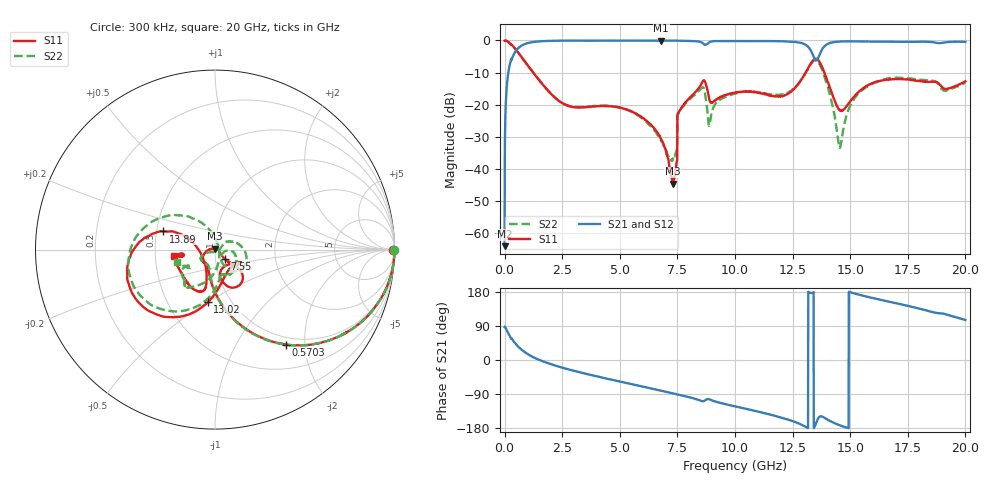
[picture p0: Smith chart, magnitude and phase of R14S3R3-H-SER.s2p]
!{R14S3R3}
!Johanson Technology Inc.
!www.johansontechnology.com
!Test Board Conditions:
!Substrate Type  RO4350B
!Substrate Thickness  20 mil
!Substrate Dk  3.66
!TL Type: GCPW
!TL Trace Width  36 mil
!TL Gap  12 mil
!Electrode orientation  Horizontal
!DUT TOPOLOGY	SERIES
!Mounting Pad LxW  26x36 mil
! Created Wed Nov 25 17:33:21 2020
! 2 Port Network Data from SP1.SP block
! freq  magS11  angS11  magS21  angS21  magS12  angS12  magS22  angS22
# khz S ma R 50
! decimated to every 10th point (10 MHz spacing) of the original 1 MHz Johanson file; values unchanged
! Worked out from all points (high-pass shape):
!   2001 points, 300 kHz to 20 GHz, reference 50 ohm
!   highest |S21| = -0.04 dB at 6.79 GHz (marker M1); lowest = -63.9 dB at 300 kHz (marker M2)
!   |S21| within 3 dB of the highest: 511.8 MHz to 13.29 GHz (12.77 GHz wide, 185 % of centre); 13.76 GHz to end of sweep
!   lowest |S11| = -44.5 dB at 7.3 GHz (marker M3), VSWR 1.01, Z = 50 + j0.595 ohm
!   |S11| at or under -10 dB: 1.243 GHz to 13.07 GHz (11.82 GHz wide, 165 % of centre); 13.88 GHz to end of sweep
!   |S22| runs from -37.4 to 0.0 dB; largest |S21 - S12| = 0.017
!   S11 on the Smith chart (normalised r, x): 300 kHz: open; 570.3 MHz: 0.87, -1.64; 7.55 GHz: 1.11, -0.12; 13.02 GHz: 0.78, -0.50; 13.89 GHz: 0.54, +0.12; 20 GHz: 0.63, -0.05
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300  0.9925 -0.3  0.0006354 87.0  0.00061 88.1  0.9982 -0.2
140300  0.9588 -17.4  0.2786 72.5  0.2799 72.3  0.9593 -17.4
570300  0.6614 -53.1  0.7461 36.6  0.7469 36.6  0.6611 -53.2
1440300  0.2571 -87.9  0.964 1.8  0.9644 1.8  0.2583 -88.0
3340300  0.091 -123.7  0.9929 -33.5  0.9928 -33.5  0.09238 -121.8
5300300  0.08451 -146.6  0.9922 -60.9  0.9917 -60.9  0.08373 -154.0
6670300  0.03538 -177.3  0.9941 -79.3  0.9939 -79.3  0.03299 -152.4
6790300  0.02935 178.0  0.9953 -81.0  0.9941 -81.0  0.0279 -148.5
7300300  0.005948 90.7  0.9934 -88.1  0.9938 -88.0  0.0147 -82.6
7390300  0.007933 46.7  0.9942 -89.3  0.9931 -89.3  0.01606 -61.9
7550300  0.07646 -44.1  0.9903 -91.5  0.9895 -91.5  0.0746 35.0
8610300  0.2352 -50.3  0.8995 -108.9  0.8987 -108.9  0.1874 -28.3
8900300  0.1159 -71.5  0.9425 -104.0  0.9431 -104.0  0.05022 -17.5
1.00003e7  0.1547 -26.7  0.9796 -122.3  0.9792 -122.3  0.1492 -41.8
1.21003e7  0.1382 -57.3  0.9694 -153.6  0.9716 -153.4  0.1455 -77.8
1.30203e7  0.2954 -97.8  0.8736 -174.8  0.8768 -174.8  0.2921 -101.1
1.33403e7  0.4701 -127.3  0.6448 176.7  0.6479 176.5  0.4513 -133.3
1.38903e7  0.3065 160.7  0.8153 -152.7  0.8123 -152.9  0.2704 135.0
1.45503e7  0.0817 -165.4  0.9621 -172.3  0.9629 -172.3  0.02203 9.0
1.52503e7  0.1445 -108.9  0.9681 174.5  0.9716 174.4  0.1354 -93.1
1.66703e7  0.2448 -108.7  0.9563 154.0  0.9504 153.8  0.2578 -124.9
2e7  0.2318 -170.8  0.9502 105.7  0.9496 105.9  0.2208 -162.3
